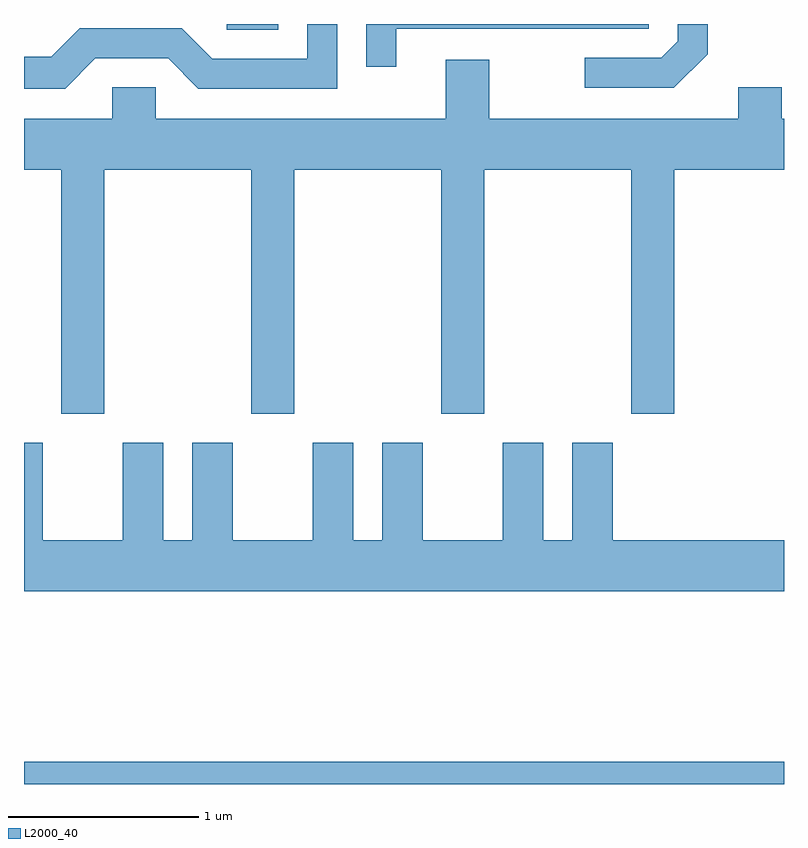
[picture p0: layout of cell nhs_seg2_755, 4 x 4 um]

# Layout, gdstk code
import gdstk
lib = gdstk.Library(unit=1e-6, precision=1e-09)
def R(c, l, rs):  # rectangles x0, y0, x1, y1
    for r in rs: c.add(gdstk.rectangle(r[:2], r[2:], *l))
def P(c, l, *ps):  # polygons
    for p in ps: c.add(gdstk.Polygon(p, *l))
L2000_40 = (2000, 40)

nhs_seg2_755 = lib.new_cell('nhs_seg2_755')
R(nhs_seg2_755, L2000_40, [(207.611,991.802,211.611,991.919), (208.678,995.771,208.949,995.802)])
P(nhs_seg2_755, L2000_40, [(209.569,995.776),(210.899,995.776),(210.899,995.802),(209.411,995.802),(209.411,995.578),(209.569,995.578)],
  [(211.209,995.644),(211.209,995.802),(211.051,995.802),(211.051,995.712),(210.964,995.624),(210.563,995.624),(210.563,995.466),(211.032,995.466)],
  [(207.987,995.621),(208.369,995.621),(208.529,995.461),(209.259,995.461),(209.259,995.802),(209.101,995.802),(209.101,995.619),(208.602,995.619),(208.442,995.779),(207.904,995.779),(207.754,995.629),(207.611,995.629),(207.611,995.461),(207.827,995.461)],
  [(208.034,995.036),(208.806,995.036),(208.806,993.751),(209.034,993.751),(209.034,995.036),(209.806,995.036),(209.806,993.751),(210.034,993.751),(210.034,995.036),(210.806,995.036),(210.806,993.751),(211.034,993.751),(211.034,995.036),(211.611,995.036),(211.611,995.304),(211.599,995.304),(211.599,995.469),(211.371,995.469),(211.371,995.304),(210.059,995.304),(210.059,995.614),(209.831,995.614),(209.831,995.304),(208.304,995.304),(208.304,995.469),(208.076,995.469),(208.076,995.304),(207.611,995.304),(207.611,995.036),(207.806,995.036),(207.806,993.751),(208.034,993.751)],
  [(211.611,993.084),(210.709,993.084),(210.709,993.599),(210.496,993.599),(210.496,993.084),(210.344,993.084),(210.344,993.599),(210.131,993.599),(210.131,993.084),(209.709,993.084),(209.709,993.599),(209.496,993.599),(209.496,993.084),(209.344,993.084),(209.344,993.599),(209.131,993.599),(209.131,993.084),(208.709,993.084),(208.709,993.599),(208.496,993.599),(208.496,993.084),(208.344,993.084),(208.344,993.599),(208.131,993.599),(208.131,993.084),(207.709,993.084),(207.709,993.599),(207.611,993.599),(207.611,992.816),(211.611,992.816)])

lib.write_gds('nhs_seg2_755.gds')
